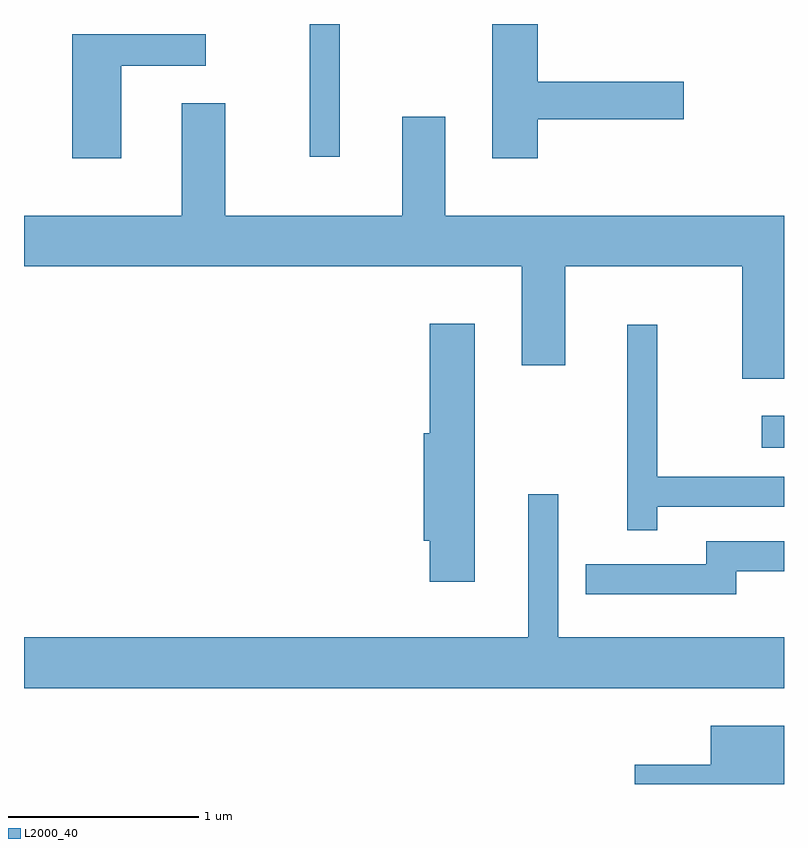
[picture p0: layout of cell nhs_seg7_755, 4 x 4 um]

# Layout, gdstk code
import gdstk
lib = gdstk.Library(unit=1e-6, precision=1e-09)
def R(c, l, rs):  # rectangles x0, y0, x1, y1
    for r in rs: c.add(gdstk.rectangle(r[:2], r[2:], *l))
def P(c, l, *ps):  # polygons
    for p in ps: c.add(gdstk.Polygon(p, *l))
L2000_40 = (2000, 40)

nhs_seg7_755 = lib.new_cell('nhs_seg7_755')
R(nhs_seg7_755, L2000_40, [(211.493,1720.021,211.611,1720.189), (209.116,1721.553,209.274,1722.252)])
P(nhs_seg7_755, L2000_40, [(210.314,1721.751),(211.084,1721.751),(211.084,1721.949),(210.314,1721.949),(210.314,1722.252),(210.076,1722.252),(210.076,1721.546),(210.314,1721.546)],
  [(208.124,1722.031),(208.568,1722.031),(208.568,1722.199),(207.866,1722.199),(207.866,1721.546),(208.124,1721.546)],
  [(211.611,1721.244),(209.829,1721.244),(209.829,1721.764),(209.601,1721.764),(209.601,1721.244),(208.669,1721.244),(208.669,1721.834),(208.441,1721.834),(208.441,1721.244),(207.611,1721.244),(207.611,1720.976),(210.231,1720.976),(210.231,1720.456),(210.459,1720.456),(210.459,1720.976),(211.391,1720.976),(211.391,1720.386),(211.611,1720.386)],
  [(209.984,1720.674),(209.746,1720.674),(209.746,1720.099),(209.716,1720.099),(209.716,1719.531),(209.746,1719.531),(209.746,1719.316),(209.984,1719.316)],
  [(210.944,1719.711),(211.611,1719.711),(211.611,1719.869),(210.944,1719.869),(210.944,1720.668),(210.786,1720.668),(210.786,1719.588),(210.944,1719.588)],
  [(211.611,1719.024),(210.424,1719.024),(210.424,1719.778),(210.266,1719.778),(210.266,1719.024),(207.611,1719.024),(207.611,1718.756),(211.611,1718.756)],
  [(211.359,1719.371),(211.611,1719.371),(211.611,1719.529),(211.201,1719.529),(211.201,1719.409),(210.568,1719.409),(210.568,1719.251),(211.359,1719.251)],
  [(211.611,1718.559),(211.226,1718.559),(211.226,1718.354),(210.826,1718.354),(210.826,1718.252),(211.611,1718.252)])

lib.write_gds('nhs_seg7_755.gds')
